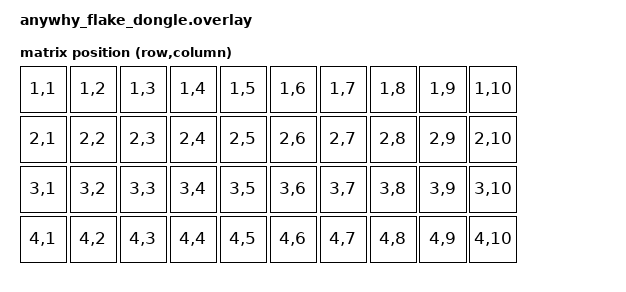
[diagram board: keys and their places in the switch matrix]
#include <dt-bindings/zmk/matrix_transform.h>

/ {
    chosen {
        zmk,kscan = &mock_kscan;
        zmk,physical-layout = &small_layout_dongle;
    };

    mock_kscan: mock_kscan_0 {
        compatible = "zmk,kscan-mock";
        columns = <0>;
        rows = <0>;
        events = <0>;
    };

    small_transform_dongle: small_transform_dongle {
        compatible = "zmk,matrix-transform";
        columns = <10>;
        rows = <4>;
        map = <
RC(1,1) RC(1,2) RC(1,3) RC(1,4) RC(1,5)  RC(1,6) RC(1,7) RC(1,8) RC(1,9) RC(1,10)
RC(2,1) RC(2,2) RC(2,3) RC(2,4) RC(2,5)  RC(2,6) RC(2,7) RC(2,8) RC(2,9) RC(2,10)
RC(3,1) RC(3,2) RC(3,3) RC(3,4) RC(3,5)  RC(3,6) RC(3,7) RC(3,8) RC(3,9) RC(3,10)
RC(4,1) RC(4,2) RC(4,3) RC(4,4) RC(4,5)  RC(4,6) RC(4,7) RC(4,8) RC(4,9) RC(4,10)
        >;
    };

    small_layout_dongle: small_layout_dongle {
        compatible = "zmk,physical-layout";
        display-name = "Flake S Layout";
        transform = <&small_transform_dongle>;
    };
};
